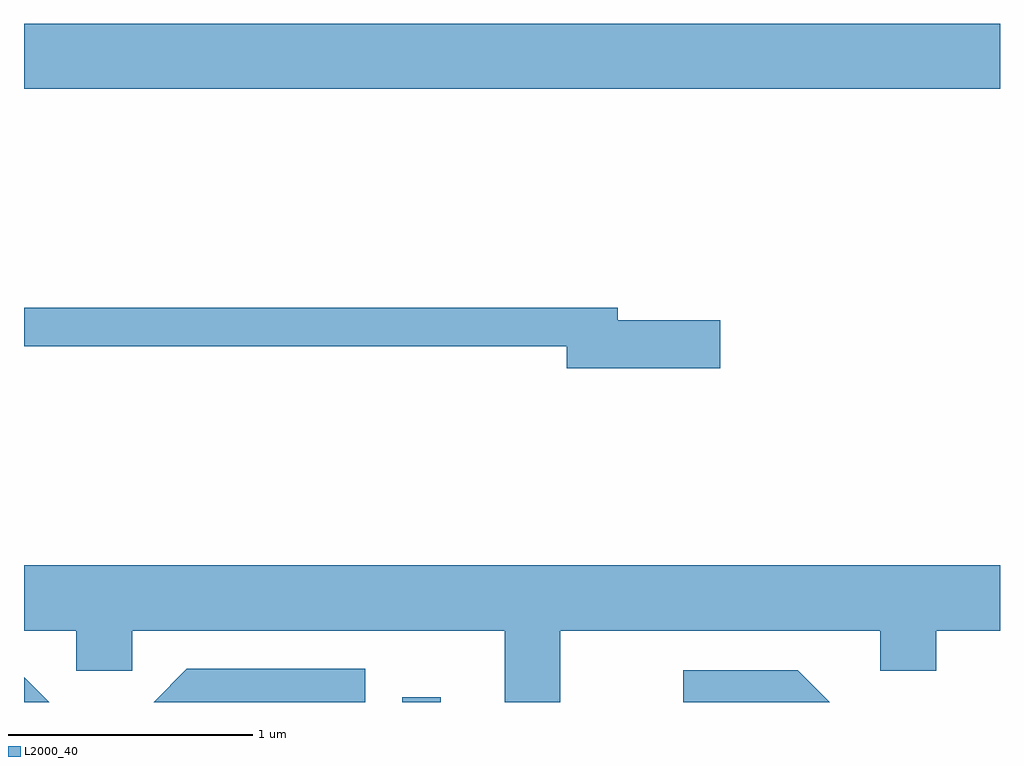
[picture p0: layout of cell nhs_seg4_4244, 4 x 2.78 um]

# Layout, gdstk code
import gdstk
lib = gdstk.Library(unit=1e-6, precision=1e-09)
def R(c, l, rs):  # rectangles x0, y0, x1, y1
    for r in rs: c.add(gdstk.rectangle(r[:2], r[2:], *l))
def P(c, l, *ps):  # polygons
    for p in ps: c.add(gdstk.Polygon(p, *l))
L2000_40 = (2000, 40)

nhs_seg4_4244 = lib.new_cell('nhs_seg4_4244')
R(nhs_seg4_4244, L2000_40, [(311.161,1309.982,311.319,1310.003), (309.611,1312.496,313.611,1312.764)])
P(nhs_seg4_4244, L2000_40, [(312.464,1311.549),(312.044,1311.549),(312.044,1311.599),(309.611,1311.599),(309.611,1311.441),(311.836,1311.441),(311.836,1311.351),(312.464,1311.351)],
  [(311.809,1310.276),(313.121,1310.276),(313.121,1310.111),(313.349,1310.111),(313.349,1310.276),(313.611,1310.276),(313.611,1310.544),(309.611,1310.544),(309.611,1310.276),(309.826,1310.276),(309.826,1310.111),(310.054,1310.111),(310.054,1310.276),(311.581,1310.276),(311.581,1309.982),(311.809,1309.982)],
  [(311.009,1310.119),(310.279,1310.119),(310.142,1309.982),(311.009,1309.982)],
  [(312.782,1310.114),(312.313,1310.114),(312.313,1309.982),(312.914,1309.982)],
  [(309.611,1310.085),(309.611,1309.982),(309.714,1309.982)])

lib.write_gds('nhs_seg4_4244.gds')
